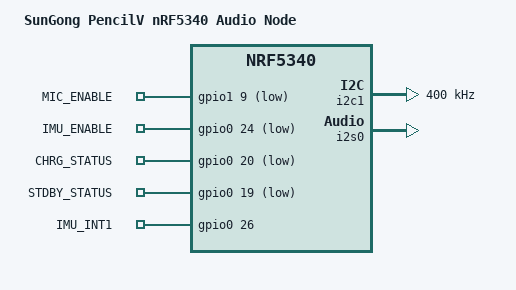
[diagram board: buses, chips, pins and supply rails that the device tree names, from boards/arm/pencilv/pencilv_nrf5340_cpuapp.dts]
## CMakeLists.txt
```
cmake_minimum_required(VERSION 3.13.1)

find_package(Zephyr REQUIRED HINTS $ENV{ZEPHYR_BASE})
project(pencilv_stage_tflite_end2end)

zephyr_compile_options(-fdiagnostics-color=always)
set(NO_THREADSAFE_STATICS $<TARGET_PROPERTY:compiler-cpp,no_threadsafe_statics>)
zephyr_compile_options($<$<COMPILE_LANGUAGE:CXX>:${NO_THREADSAFE_STATICS}>)

target_include_directories(app PRIVATE
    .
    src
    src/generated
)

# 生成 runner 已切换到 CMSIS-DSP，不再编译 kissfft。
target_sources(app PRIVATE
    src/main.cpp
    src/generated/audio_event_model_runner.cpp
    src/generated/audio_event_model_data.cpp
)
```

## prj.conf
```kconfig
CONFIG_CPP=y
CONFIG_STD_CPP17=y
CONFIG_GLIBCXX_LIBCPP=y
CONFIG_TENSORFLOW_LITE_MICRO=y
CONFIG_REQUIRES_FLOAT_PRINTF=y

CONFIG_FPU=y
CONFIG_FP_HARDABI=y
CONFIG_FP16=y

CONFIG_CONSOLE=y
CONFIG_PRINTK=y
CONFIG_STDOUT_CONSOLE=y
CONFIG_USE_SEGGER_RTT=y
CONFIG_RTT_CONSOLE=y
CONFIG_UART_CONSOLE=n
CONFIG_SERIAL=n

CONFIG_GPIO=y
CONFIG_I2S=y

CONFIG_MAIN_STACK_SIZE=16384
CONFIG_HEAP_MEM_POOL_SIZE=16384

CONFIG_SPEED_OPTIMIZATIONS=y

CONFIG_CMSIS_NN=y
CONFIG_TENSORFLOW_LITE_MICRO_CMSIS_NN_KERNELS=y
CONFIG_CMSIS_DSP=y
CONFIG_CMSIS_DSP_BASICMATH=y
CONFIG_CMSIS_DSP_COMPLEXMATH=y
CONFIG_CMSIS_DSP_FASTMATH=y
CONFIG_CMSIS_DSP_STATISTICS=y
CONFIG_CMSIS_DSP_SUPPORT=y
CONFIG_CMSIS_DSP_TRANSFORM=y

CONFIG_ASSERT=y
CONFIG_ASSERT_VERBOSE=y
CONFIG_THREAD_STACK_INFO=y
CONFIG_STACK_SENTINEL=y
CONFIG_FAULT_DUMP=2
CONFIG_HW_STACK_PROTECTION=y
CONFIG_CPP_EXCEPTIONS=n
```

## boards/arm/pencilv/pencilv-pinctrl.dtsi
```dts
/* SPDX-License-Identifier: Apache-2.0 */

&pinctrl {
    i2c1_default: i2c1_default {
        group1 {
            psels = <NRF_PSEL(TWIM_SDA, 0, 21)>,
                    <NRF_PSEL(TWIM_SCL, 0, 22)>;
            bias-pull-up;
        };
    };

    i2c1_sleep: i2c1_sleep {
        group1 {
            psels = <NRF_PSEL(TWIM_SDA, 0, 21)>,
                    <NRF_PSEL(TWIM_SCL, 0, 22)>;
            low-power-enable;
        };
    };

    i2s0_default: i2s0_default {
        group1 {
            psels = <NRF_PSEL(I2S_SCK_M, 1, 15)>,
                    <NRF_PSEL(I2S_LRCK_M, 1, 12)>,
                    <NRF_PSEL(I2S_SDIN, 0, 31)>;
        };
    };

    i2s0_sleep: i2s0_sleep {
        group1 {
            psels = <NRF_PSEL(I2S_SCK_M, 1, 15)>,
                    <NRF_PSEL(I2S_LRCK_M, 1, 12)>,
                    <NRF_PSEL(I2S_SDIN, 0, 31)>;
            low-power-enable;
        };
    };
};
```

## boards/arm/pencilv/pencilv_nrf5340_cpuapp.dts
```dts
/* SPDX-License-Identifier: Apache-2.0 */

/dts-v1/;
#include <nordic/nrf5340_cpuapp_qkaa.dtsi>
#include <zephyr/dt-bindings/gpio/gpio.h>
#include "pencilv-pinctrl.dtsi"

/ {
    model = "SunGong PencilV nRF5340 Audio Node";
    compatible = "sungong,pencilv-nrf5340";

    chosen {
        zephyr,sram = &sram0_image;
        zephyr,flash = &flash0;
        zephyr,code-partition = &slot0_partition;
    };

    reserved-memory {
        #address-cells = <1>;
        #size-cells = <1>;
        ranges;

        sram0_image: image@20000000 {
            reg = <0x20000000 0x70000>;
        };

        sram0_shared: memory@20070000 {
            reg = <0x20070000 0x10000>;
        };
    };

    aliases {
        mic-en = &mic_en;
        imu-en = &imu_en;
        chrg-in = &chrg_in;
        stdby-in = &stdby_in;
        imu-int = &imu_int1;
    };

    power_enables {
        compatible = "gpio-leds";

        mic_en: mic_en {
            gpios = <&gpio1 9 GPIO_ACTIVE_LOW>;
            label = "MIC_ENABLE";
        };

        imu_en: imu_en {
            gpios = <&gpio0 24 GPIO_ACTIVE_LOW>;
            label = "IMU_ENABLE";
        };
    };

    status_inputs {
        compatible = "gpio-keys";

        chrg_in: chrg_in {
            gpios = <&gpio0 20 GPIO_ACTIVE_LOW>;
            label = "CHRG_STATUS";
        };

        stdby_in: stdby_in {
            gpios = <&gpio0 19 GPIO_ACTIVE_LOW>;
            label = "STDBY_STATUS";
        };
    };

    ints {
        compatible = "gpio-keys";

        imu_int1: imu_int1 {
            gpios = <&gpio0 26 GPIO_ACTIVE_HIGH>;
            label = "IMU_INT1";
        };
    };
};

&gpiote {
    status = "okay";
};

&gpio0 {
    status = "okay";
};

&gpio1 {
    status = "okay";
};

&i2c1 {
    compatible = "nordic,nrf-twim";
    status = "okay";
    pinctrl-0 = <&i2c1_default>;
    pinctrl-1 = <&i2c1_sleep>;
    pinctrl-names = "default", "sleep";
    clock-frequency = <I2C_BITRATE_FAST>;
};

&i2s0 {
    status = "okay";
    pinctrl-0 = <&i2s0_default>;
    pinctrl-1 = <&i2s0_sleep>;
    pinctrl-names = "default", "sleep";
};

&flash0 {
    partitions {
        compatible = "fixed-partitions";
        #address-cells = <1>;
        #size-cells = <1>;

        boot_partition: partition@0 {
            label = "mcuboot";
            reg = <0x00000000 0x00010000>;
        };

        slot0_partition: partition@10000 {
            label = "image-0";
            reg = <0x00010000 0x00060000>;
        };

        slot1_partition: partition@70000 {
            label = "image-1";
            reg = <0x00070000 0x00060000>;
        };

        storage_partition: partition@d0000 {
            label = "storage";
            reg = <0x000d0000 0x00030000>;
        };
    };
};
```

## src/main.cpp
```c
#include <errno.h>
#include <stdint.h>
#include <string.h>

#include <zephyr/device.h>
#include <zephyr/drivers/gpio.h>
#include <zephyr/drivers/i2s.h>
#include <zephyr/kernel.h>
#include <zephyr/sys/printk.h>

#include "generated/audio_event_model_runner.h"
#include "generated/audio_event_model_config.h"

namespace {

#define I2S_RX_NODE DT_NODELABEL(i2s0)

#if DT_NODE_EXISTS(DT_ALIAS(mic_en))
static const struct gpio_dt_spec mic_enable =
    GPIO_DT_SPEC_GET(DT_ALIAS(mic_en), gpios);
constexpr bool kHasMicEnable = true;
#else
constexpr bool kHasMicEnable = false;
#endif

constexpr uint32_t kAudioSampleRate = audio_event_model_config::kSampleRateHz;
constexpr uint8_t kAudioWordSizeBits = 16;
constexpr size_t kI2sChannels = 2;
constexpr uint32_t kFrameMs = 100;
constexpr size_t kFramesPerBlock = (kAudioSampleRate * kFrameMs) / 1000;
constexpr size_t kWindowSamples = audio_event_model_runner::window_samples();
constexpr uint32_t kRingBufferMs = 2000;
constexpr size_t kRingSamples = (kAudioSampleRate * kRingBufferMs) / 1000;
constexpr size_t kBlockSamples = kFramesPerBlock * kI2sChannels;
constexpr size_t kBlockSize = kBlockSamples * sizeof(int16_t);
constexpr size_t kI2sSlabBlockCount = 4;
constexpr uint32_t kReadTimeoutMs = 200;
constexpr uint32_t kMicPowerUpDelayMs = 20;
constexpr size_t kCaptureThreadStackSize = 4096;
constexpr int kCaptureThreadPriority = 0;
constexpr int kClassifierThreadPriority = 1;

static_assert(kRingSamples >= kWindowSamples, "Ring buffer must hold at least one inference window");

K_MEM_SLAB_DEFINE_STATIC(audio_mem_slab, kBlockSize, kI2sSlabBlockCount, 4);
K_MUTEX_DEFINE(audio_ring_mutex);
K_SEM_DEFINE(audio_window_ready_sem, 0, 1);
K_THREAD_STACK_DEFINE(capture_thread_stack, kCaptureThreadStackSize);

static const struct device *i2s_dev;
static struct i2s_config i2s_cfg;
static struct k_thread capture_thread_data;
static int16_t audio_ring[kRingSamples];
static int16_t infer_buf[kWindowSamples];

struct AudioRingState {
    size_t write_idx;
    size_t read_idx;
    size_t count;
    uint32_t overrun_events;
    uint32_t dropped_samples;
};

static AudioRingState audio_ring_state;

void print_runtime_memory_summary_once()
{
    const uint32_t infer_buffer_bytes = sizeof(infer_buf);
    const uint32_t ring_buffer_bytes = sizeof(audio_ring);
    const uint32_t generated_runtime_bytes =
        audio_event_model_runner::runtime_memory_size_bytes();
    const uint32_t i2s_slab_bytes = kI2sSlabBlockCount * kBlockSize;
    const uint32_t capture_thread_stack_bytes =
        K_THREAD_STACK_SIZEOF(capture_thread_stack);
    const uint32_t known_runtime_bytes =
        infer_buffer_bytes + ring_buffer_bytes + generated_runtime_bytes +
        i2s_slab_bytes + capture_thread_stack_bytes;

    printk("Runtime memory: infer_buf=%u B ring_buf=%u B generated_runtime=%u B i2s_slab=%u B capture_stack=%u B known_total=%u B\n",
           infer_buffer_bytes,
           ring_buffer_bytes,
           generated_runtime_bytes,
           i2s_slab_bytes,
           capture_thread_stack_bytes,
           known_runtime_bytes);
}

int16_t select_mono_sample(int16_t left, int16_t right)
{
    if (left == 0) {
        return right;
    }
    if (right == 0) {
        return left;
    }

    return static_cast<int16_t>((static_cast<int32_t>(left) +
                                 static_cast<int32_t>(right)) / 2);
}

int enable_microphone_power(void)
{
    if (!kHasMicEnable) {
        return 0;
    }

    if (!gpio_is_ready_dt(&mic_enable)) {
        printk("MIC_EN GPIO not ready\n");
        return -ENODEV;
    }

    int ret = gpio_pin_configure_dt(&mic_enable, GPIO_OUTPUT_INACTIVE);
    if (ret < 0) {
        printk("Failed to configure MIC_EN: %d\n", ret);
        return ret;
    }

    ret = gpio_pin_set_dt(&mic_enable, 1);
    if (ret < 0) {
        printk("Failed to enable microphone rail: %d\n", ret);
        return ret;
    }

    k_sleep(K_MSEC(kMicPowerUpDelayMs));
    return 0;
}

int init_i2s(void)
{
    i2s_dev = DEVICE_DT_GET(I2S_RX_NODE);
    if (!device_is_ready(i2s_dev)) {
        printk("I2S device not ready\n");
        return -ENODEV;
    }

    memset(&i2s_cfg, 0, sizeof(i2s_cfg));
    i2s_cfg.word_size = kAudioWordSizeBits;
    i2s_cfg.channels = kI2sChannels;
    i2s_cfg.format = I2S_FMT_DATA_FORMAT_I2S;
    i2s_cfg.options = I2S_OPT_BIT_CLK_MASTER | I2S_OPT_FRAME_CLK_MASTER;
    i2s_cfg.frame_clk_freq = kAudioSampleRate;
    i2s_cfg.mem_slab = &audio_mem_slab;
    i2s_cfg.block_size = kBlockSize;
    i2s_cfg.timeout = kReadTimeoutMs;

    const int ret = i2s_configure(i2s_dev, I2S_DIR_RX, &i2s_cfg);
    if (ret < 0) {
        printk("Failed to configure I2S RX: %d\n", ret);
        return ret;
    }

    return 0;
}

int stop_i2s_capture(void)
{
    const int ret = i2s_trigger(i2s_dev, I2S_DIR_RX, I2S_TRIGGER_DROP);
    if (ret < 0 && ret != -EIO) {
        printk("Failed to drop I2S RX stream: %d\n", ret);
        return ret;
    }

    return 0;
}

size_t push_pcm_frames_to_ring(const int16_t *pcm, size_t frame_count)
{
    if (pcm == nullptr || frame_count == 0) {
        return 0;
    }

    size_t overwritten_samples = 0;
    bool window_ready = false;

    k_mutex_lock(&audio_ring_mutex, K_FOREVER);

    for (size_t i = 0; i < frame_count; ++i) {
        if (audio_ring_state.count == kRingSamples) {
            audio_ring_state.read_idx =
                (audio_ring_state.read_idx + 1) % kRingSamples;
            audio_ring_state.count--;
            overwritten_samples++;
        }

        const int16_t left = pcm[(i * kI2sChannels) + 0];
        const int16_t right = pcm[(i * kI2sChannels) + 1];
        audio_ring[audio_ring_state.write_idx] = select_mono_sample(left, right);
        audio_ring_state.write_idx =
            (audio_ring_state.write_idx + 1) % kRingSamples;
        audio_ring_state.count++;
    }

    if (overwritten_samples > 0) {
        audio_ring_state.overrun_events++;
        audio_ring_state.dropped_samples +=
            static_cast<uint32_t>(overwritten_samples);
    }

    window_ready = audio_ring_state.count >= kWindowSamples;
    k_mutex_unlock(&audio_ring_mutex);

    if (window_ready) {
        k_sem_give(&audio_window_ready_sem);
    }

    return overwritten_samples;
}

bool pop_inference_window(int16_t *dest,
                          size_t *buffered_samples_after_pop,
                          uint32_t *overrun_events,
                          uint32_t *dropped_samples)
{
    if (dest == nullptr) {
        return false;
    }

    bool has_window = false;

    k_mutex_lock(&audio_ring_mutex, K_FOREVER);
    if (audio_ring_state.count >= kWindowSamples) {
        const size_t first_chunk = MIN(kRingSamples - audio_ring_state.read_idx,
                                       kWindowSamples);
        memcpy(dest,
               &audio_ring[audio_ring_state.read_idx],
               first_chunk * sizeof(int16_t));
        if (first_chunk < kWindowSamples) {
            memcpy(dest + first_chunk,
                   audio_ring,
                   (kWindowSamples - first_chunk) * sizeof(int16_t));
        }

        audio_ring_state.read_idx =
            (audio_ring_state.read_idx + kWindowSamples) % kRingSamples;
        audio_ring_state.count -= kWindowSamples;
        has_window = true;
    }

    if (buffered_samples_after_pop != nullptr) {
        *buffered_samples_after_pop = audio_ring_state.count;
    }
    if (overrun_events != nullptr) {
        *overrun_events = audio_ring_state.overrun_events;
    }
    if (dropped_samples != nullptr) {
        *dropped_samples = audio_ring_state.dropped_samples;
    }
    k_mutex_unlock(&audio_ring_mutex);

    return has_window;
}

void reset_audio_ring(void)
{
    k_mutex_lock(&audio_ring_mutex, K_FOREVER);
    audio_ring_state.write_idx = 0;
    audio_ring_state.read_idx = 0;
    audio_ring_state.count = 0;
    k_mutex_unlock(&audio_ring_mutex);
}

void capture_thread(void *, void *, void *)
{
    while (1) {
        reset_audio_ring();

        int ret = i2s_trigger(i2s_dev, I2S_DIR_RX, I2S_TRIGGER_START);
        if (ret < 0) {
            printk("Failed to start I2S RX: %d\n", ret);
            k_sleep(K_MSEC(250));
            continue;
        }

        while (1) {
            void *buffer = nullptr;
            size_t block_size = 0;

            ret = i2s_read(i2s_dev, &buffer, &block_size);
            if (ret < 0) {
                printk("I2S read failed: %d\n", ret);
                stop_i2s_capture();
                k_sleep(K_MSEC(250));
                break;
            }

            if ((buffer == nullptr) ||
                (block_size < (kI2sChannels * sizeof(int16_t)))) {
                if (buffer != nullptr) {
                    k_mem_slab_free(&audio_mem_slab, buffer);
                }
                continue;
            }

            const int16_t *pcm = static_cast<const int16_t *>(buffer);
            const size_t sample_count = block_size / sizeof(int16_t);
            const size_t frame_count = sample_count / kI2sChannels;
            (void)push_pcm_frames_to_ring(pcm, frame_count);
            k_mem_slab_free(&audio_mem_slab, buffer);
        }
    }
}

}  // namespace

int main(void)
{
    k_sleep(K_SECONDS(10));
    printk("============================\n");
    printk("Audio Event detector start\n");
    printk("Target: pencilv nRF5340 over I2S\n");
    printk("============================\n");
    print_runtime_memory_summary_once();

    int ret = enable_microphone_power();
    if (ret < 0) {
        return ret;
    }

    ret = init_i2s();
    if (ret < 0) {
        return ret;
    }

    printk("labels:");
    for (int label_index = 0; label_index < audio_event_model_config::kLabelCount; ++label_index) {
        printk(" [%s]", audio_event_model_config::kLabels[label_index]);
    }
    printk("\n");
    if (audio_event_model_runner::model_is_placeholder()) {
        printk("Placeholder generated model detected. Export a real generated C++ model.\n");
    }
    printk("Listening continuously from I2S microphone...\n");
    printk("Ring buffer: %u samples (%u ms), inference window: %u samples (%u ms)\n\n",
           static_cast<uint32_t>(kRingSamples),
           kRingBufferMs,
           static_cast<uint32_t>(kWindowSamples),
           audio_event_model_config::kCaptureWindowMs);

    k_thread_create(&capture_thread_data,
                    capture_thread_stack,
                    K_THREAD_STACK_SIZEOF(capture_thread_stack),
                    capture_thread,
                    nullptr,
                    nullptr,
                    nullptr,
                    kCaptureThreadPriority,
                    0,
                    K_NO_WAIT);
    k_thread_priority_set(k_current_get(), kClassifierThreadPriority);

    uint32_t last_reported_overrun_events = 0;
    uint32_t last_reported_dropped_samples = 0;

    while (1) {
        k_sem_take(&audio_window_ready_sem, K_FOREVER);

        while (1) {
            size_t buffered_samples_after_pop = 0;
            uint32_t overrun_events = 0;
            uint32_t dropped_samples = 0;

            if (!pop_inference_window(infer_buf,
                                      &buffered_samples_after_pop,
                                      &overrun_events,
                                      &dropped_samples)) {
                break;
            }

            const uint32_t classify_start_ms = k_uptime_get_32();
            const audio_event_model_runner::Result result =
                audio_event_model_runner::run_classifier(
                    infer_buf, audio_event_model_runner::window_samples());
            const uint32_t classify_end_ms = k_uptime_get_32();

            printk("Timing: queued=%u ms feature=%u ms invoke=%u ms classify=%u ms\n",
                   static_cast<uint32_t>(
                       (buffered_samples_after_pop * 1000U) / kAudioSampleRate),
                   audio_event_model_runner::last_feature_ms(),
                   audio_event_model_runner::last_invoke_ms(),
                   classify_end_ms - classify_start_ms);

            if ((overrun_events != last_reported_overrun_events) ||
                (dropped_samples != last_reported_dropped_samples)) {
                printk("Audio ring overrun: events=%u dropped_samples=%u\n",
                       overrun_events,
                       dropped_samples);
                last_reported_overrun_events = overrun_events;
                last_reported_dropped_samples = dropped_samples;
            }

            if (!result.inference_ok) {
                printk("Generated classifier unavailable: %s\n",
                       audio_event_model_runner::last_error());
                continue;
            }

            const bool label_in_range =
                result.predicted_label >= 0 &&
                result.predicted_label < audio_event_model_config::kLabelCount;
            const char *label_name = label_in_range ?
                audio_event_model_config::kLabels[result.predicted_label] :
                "unknown";
            printk("detected label=%d [%s], prob=%.3f, outputs=%d\n",
                   result.predicted_label,
                   label_name,
                   (double)result.predicted_score,
                   result.output_count);
            printk("class probs:");
            for (int label_index = 0; label_index < audio_event_model_config::kLabelCount; ++label_index) {
                const float probability =
                    (label_index < result.output_count) ? result.scores[label_index] : 0.0f;
                printk(" [%s]=%.3f",
                       audio_event_model_config::kLabels[label_index],
                       (double)probability);
            }
            printk("\n");
        }
    }
}
```
